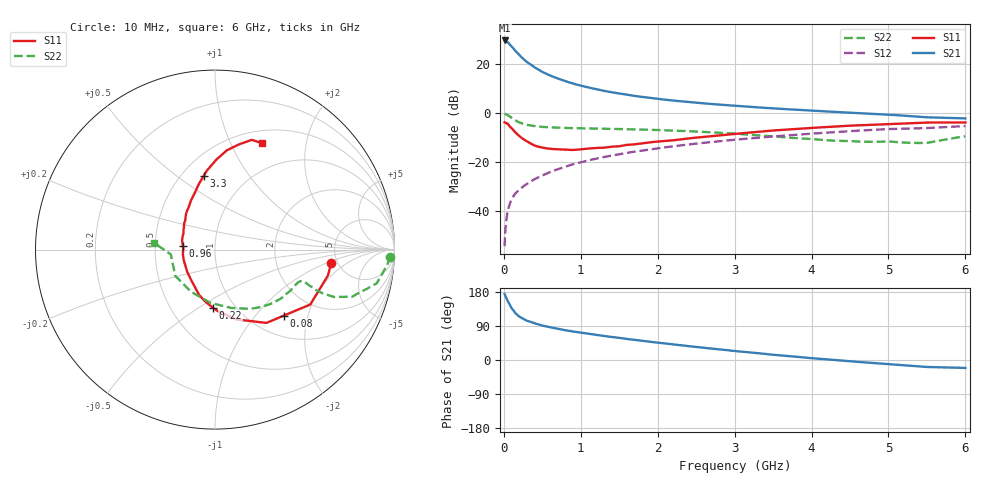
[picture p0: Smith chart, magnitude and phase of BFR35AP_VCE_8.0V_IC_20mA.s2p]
! Infineon Technologies  Discrete & RF Semiconductors
! BFR35AP
! VCE =  8.0 V,  IC =  20 mA
! Common Emitter S-Parameters:  Nov 2015
# GHz  S  MA  R  50
!  f  S11  S21  S12  S22
! GHz  MAG  ANG  MAG  ANG  MAG  ANG  MAG  ANG
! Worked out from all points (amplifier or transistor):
!   210 points, 10 MHz to 6 GHz, reference 50 ohm
!   highest |S21| = 29.8 dB at 10 MHz (marker M1)
!   |S21| within 3 dB of that: start of sweep to 116.7 MHz
!   unconditionally stable (mu >= 1): 455.9 MHz to 2.693 GHz
!   at 185 MHz: K = 0.70, MSG = 28.1 dB, |S12| = -31.7 dB
!   at 1.52 GHz: K = 1.09, MAG = 10.5 dB, |S12| = -16.6 dB
!   at 6 GHz: K = 0.90, MSG = 1.6 dB, |S12| = -5.2 dB
!   S11 on the Smith chart (normalised r, x): 10 MHz: 4.44, -1.14; 80 MHz: 1.39, -1.43; 220 MHz: 0.79, -0.57; 960 MHz: 0.70, +0.03; 3.3 GHz: 0.64, +0.63; 6 GHz: 0.65, +1.32
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0.01  0.6522 -6.5  30.97 174.2  0.0019 85.2  0.978 -2.3
0.02  0.6454 -13.0  30.41 169.2  0.0041 83.0  0.9633 -5.1
0.05  0.6125 -30.0  28.56 155.2  0.01 77.0  0.9204 -11.8
0.08  0.5315 -43.8  25.25 145.0  0.0143 71.0  0.8505 -15.9
0.1  0.4988 -55.0  23.59 136.7  0.0173 68.7  0.8067 -19.0
0.15  0.408 -72.6  18.95 123.5  0.0229 66.2  0.7138 -21.7
0.2  0.3436 -87.4  15.62 114.6  0.0272 65.8  0.6506 -22.1
0.22  0.3237 -91.9  14.58 112.3  0.029 66.3  0.633 -22.0
0.26  0.2912 -101.6  12.69 107.5  0.0324 67.1  0.6011 -21.7
0.3  0.2662 -109.6  11.22 103.5  0.0357 67.9  0.5788 -21.2
0.4  0.2182 -126.5  8.7 96.7  0.0448 68.5  0.5458 -20.3
0.5  0.1987 -141.0  7.031 90.8  0.0534 70.0  0.5257 -19.8
0.7  0.1833 -163.0  5.158 82.2  0.0713 70.5  0.5076 -20.3
0.96  0.1801 174.2  3.821 73.4  0.0956 69.8  0.4939 -22.4
1.02  0.1838 170.2  3.611 71.6  0.1009 69.5  0.4919 -23.1
1.4  0.2075 148.0  2.69 60.8  0.1358 67.2  0.4799 -28.0
2.02  0.2651 126.2  1.955 45.3  0.1937 61.8  0.4523 -38.0
3.1  0.39 101.9  1.388 21.9  0.2964 50.5  0.3727 -62.0
3.3  0.4163 98.6  1.32 18.1  0.3152 48.0  0.353 -67.9
4.1  0.5124 87.8  1.113 3.3  0.392 38.6  0.2881 -99.5
5.1  0.6078 76.2  0.916 -12.4  0.4791 24.3  0.2573 -151.6
6  0.6486 66.1  0.785 -20.9  0.5473 13.5  0.3392 173.8
